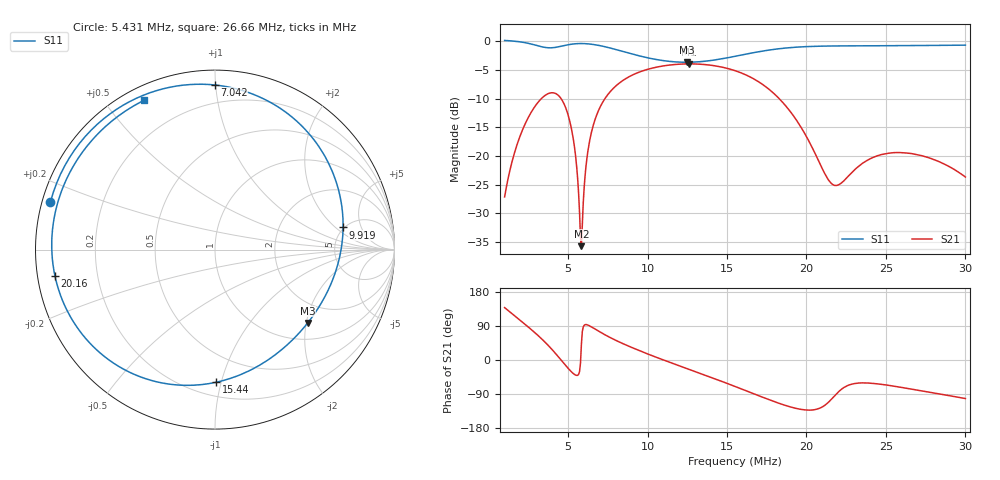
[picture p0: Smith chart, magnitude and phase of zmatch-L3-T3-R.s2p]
# HZ S RI R 50
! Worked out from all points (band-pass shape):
!   505 points, 1 MHz to 30 MHz, reference 50 ohm
!   highest |S21| = -3.91 dB at 12.62 MHz (marker M1); lowest = -35.7 dB at 5.833 MHz (marker M2)
!   |S21| within 3 dB of the highest: 8.39 MHz to 16.91 MHz (8.523 MHz wide, 67.4 % of centre)
!   lowest |S11| = -3.6 dB at 12.45 MHz (marker M3), VSWR 4.86, Z = 70.6 - j102 ohm
!   |S11| at or under -10 dB: nowhere
!   S12 and S22 are empty: the file has one direction only
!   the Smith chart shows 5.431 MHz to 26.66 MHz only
!   S11 on the Smith chart (normalised r, x): 5.431 MHz: 0.02, +0.14; 7.042 MHz: 0.09, +0.99; 9.919 MHz: 4.89, +2.54; 15.44 MHz: 0.30, -0.96; 20.16 MHz: 0.05, -0.08; 26.66 MHz: 0.06, +0.63
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1000000  -0.6186 0.8118  -0.0328 0.0293  0 0  0 0
2150800  0.3584 0.9162  -0.0263 0.1703  0 0  0 0
3128980  0.9138 -0.0297  0.1316 0.2668  0 0  0 0
4107160  -0.0696 -0.8818  0.3298 0.1325  0 0  0 0
4797640  -0.83 -0.4072  0.2676 -0.0586  0 0  0 0
5430580  -0.9165 0.2657  0.086 -0.0694  0 0  0 0
5833360  -0.754 0.5931  0.0122 0.0108  0 0  0 0
6293680  -0.4764 0.8242  -0.00265 0.1225  0 0  0 0
7041700  -0.00186 0.9172  0.0798 0.2609  0 0  0 0
8365120  0.5509 0.6126  0.319 0.3156  0 0  0 0
9918700  0.7137 0.1233  0.541 0.169  0 0  0 0
1.066672e7  0.6877 -0.0689  0.5984 0.0551  0 0  0 0
1.245046e7  0.5162 -0.4088  0.5898 -0.2408  0 0  0 0
1.262308e7  0.4947 -0.4353  0.5785 -0.2677  0 0  0 0
1.544254e7  0.00569 -0.7393  0.2024 -0.5219  0 0  0 0
1.550008e7  -0.00742 -0.7419  0.1926 -0.522  0 0  0 0
2.016082e7  -0.8914 -0.148  -0.0902 -0.0993  0 0  0 0
2.033344e7  -0.899 -0.1079  -0.0806 -0.0896  0 0  0 0
2.182948e7  -0.8871 0.22  -0.00162 -0.0553  0 0  0 0
2.51668e7  -0.5767 0.7146  0.0415 -0.0974  0 0  0 0
2.666284e7  -0.3929 0.8329  0.0231 -0.1022  0 0  0 0
3.000016e7  0.0124 0.9286  -0.0133 -0.0642  0 0  0 0
